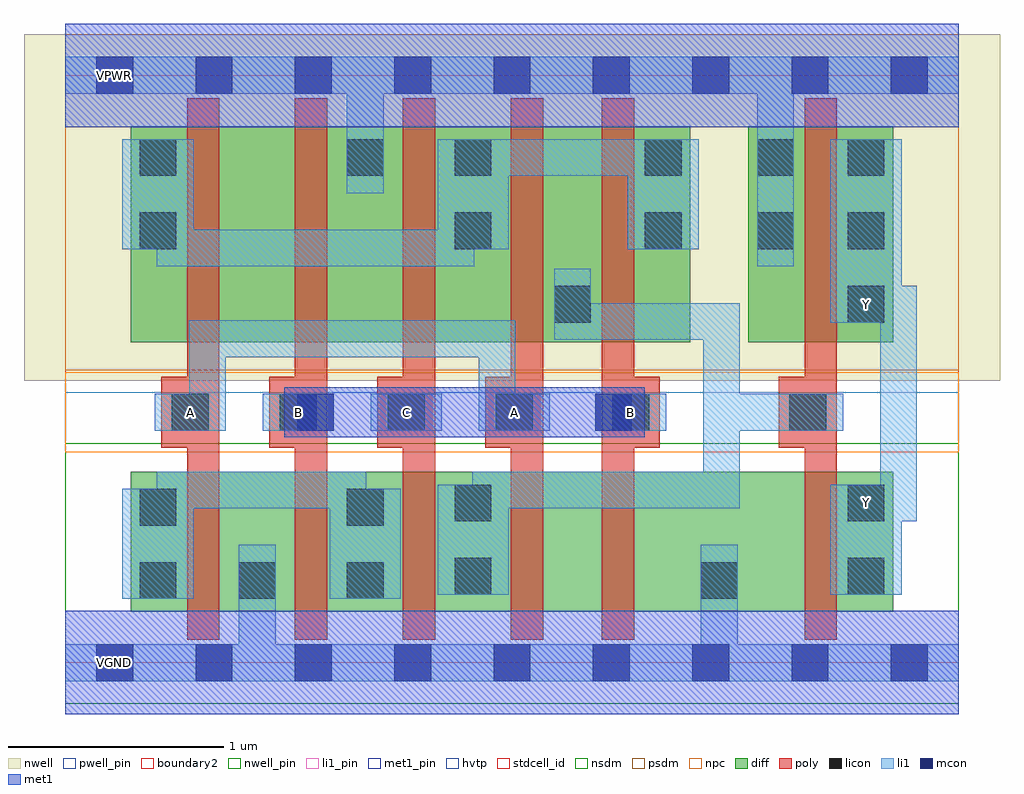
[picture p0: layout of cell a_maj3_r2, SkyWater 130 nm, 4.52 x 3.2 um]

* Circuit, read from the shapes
.subckt a_maj3_r2 A B C VGND VNB VPB VPWR Y
XM1 VGND A n1 VNB sky130_fd_pr__nfet_01v8 w=0.65 l=0.15
XM2 n1 B VGND VNB sky130_fd_pr__nfet_01v8 w=0.65 l=0.15
XM3 n2 C n1 VNB sky130_fd_pr__nfet_01v8 w=0.65 l=0.15
XM4 n3 A n2 VNB sky130_fd_pr__nfet_01v8 w=0.65 l=0.15
XM5 VGND B n3 VNB sky130_fd_pr__nfet_01v8 w=0.65 l=0.15
XM6 Y n2 VGND VNB sky130_fd_pr__nfet_01v8 w=0.65 l=0.15
XM7 n4 A n5 VPB sky130_fd_pr__pfet_01v8_hvt w=1 l=0.15
XM8 VPWR B n4 VPB sky130_fd_pr__pfet_01v8_hvt w=1 l=0.15
XM9 n5 C VPWR VPB sky130_fd_pr__pfet_01v8_hvt w=1 l=0.15
XM10 n2 A n5 VPB sky130_fd_pr__pfet_01v8_hvt w=1 l=0.15
XM11 n5 B n2 VPB sky130_fd_pr__pfet_01v8_hvt w=1 l=0.15
XM12 Y n2 VPWR VPB sky130_fd_pr__pfet_01v8_hvt w=1 l=0.15
.ends

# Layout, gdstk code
import gdstk
lib = gdstk.Library(unit=1e-6, precision=1e-09)
def R(c, l, rs):  # rectangles x0, y0, x1, y1
    for r in rs: c.add(gdstk.rectangle(r[:2], r[2:], *l))
def A(c, l, x, y, w, h, nx, ny, dx, dy):  # array of equal rectangles
    R(c, l, [(x+i*dx, y+j*dy, x+i*dx+w, y+j*dy+h) for i in range(nx) for j in range(ny)])
nwell_pin = (64, 16)
nwell = (64, 20)
diff = (65, 20)
poly = (66, 20)
licon = (66, 44)
li1_pin = (67, 16)
li1 = (67, 20)
mcon = (67, 44)
met1_pin = (68, 16)
met1 = (68, 20)
hvtp = (78, 44)
stdcell_id = (81, 4)
nsdm = (93, 44)
psdm = (94, 20)
npc = (95, 20)
pwell_pin = (122, 16)
boundary2 = (236, 0)

a_maj3_r2 = lib.new_cell('a_maj3_r2')
R(a_maj3_r2, nwell_pin, [(0.145,2.635,0.315,2.805)])
R(a_maj3_r2, nwell, [(-0.19,1.305,4.33,2.91)])
R(a_maj3_r2, diff, [(0.305,0.235,0.89,0.885), (0.89,0.235,1.39,0.885), (1.39,0.235,1.89,0.885), (1.89,0.235,2.35,0.885), (2.35,0.235,3.03,0.885), (3.03,0.235,3.835,0.885), (0.305,1.485,0.89,2.485), (0.89,1.485,1.39,2.485), (1.39,1.485,1.89,2.485), (1.89,1.485,2.35,2.485), (2.35,1.485,2.895,2.485), (3.165,1.485,3.835,2.485)])
A(a_maj3_r2, poly, 0.565, 0.105, 0.15, 2.51, 4, 1, 0.5, 0)
A(a_maj3_r2, poly, 0.445, 0.995, 0.27, 0.33, 4, 1, 0.5, 0)
R(a_maj3_r2, poly, [(2.485,0.105,2.635,2.615), (3.425,0.105,3.575,2.615), (2.485,0.995,2.755,1.325), (3.305,0.995,3.575,1.325)])
A(a_maj3_r2, licon, 0.495, 1.075, 0.17, 0.17, 4, 1, 0.5, 0)
A(a_maj3_r2, licon, 3.625, 1.575, 0.17, 0.17, 1, 3, 0, 0.34)
R(a_maj3_r2, licon, [(0.345,0.295,0.515,0.465), (0.805,0.295,0.975,0.465), (1.305,0.295,1.475,0.465), (2.945,0.295,3.115,0.465), (1.805,0.315,1.975,0.485), (3.625,0.315,3.795,0.485), (0.345,0.635,0.515,0.805), (1.305,0.635,1.475,0.805), (1.805,0.655,1.975,0.825), (3.625,0.655,3.795,0.825), (2.535,1.075,2.705,1.245), (3.355,1.075,3.525,1.245), (2.265,1.575,2.435,1.745), (0.345,1.915,0.515,2.085), (1.805,1.915,1.975,2.085), (2.685,1.915,2.855,2.085), (3.205,1.915,3.375,2.085), (0.345,2.255,0.515,2.425), (1.305,2.255,1.475,2.425), (1.805,2.255,1.975,2.425), (2.685,2.255,2.855,2.425), (3.205,2.255,3.375,2.425)])
A(a_maj3_r2, li1_pin, 0.495, 1.075, 0.17, 0.17, 4, 1, 0.5, 0)
R(a_maj3_r2, li1_pin, [(3.625,0.655,3.795,0.825), (2.535,1.075,2.705,1.245), (3.625,1.575,3.795,1.745)])
A(a_maj3_r2, li1, 0.415, 1.075, 0.33, 0.17, 4, 1, 0.5, 0)
R(a_maj3_r2, li1, [(0,-0.085,4.14,0.085), (0.805,-0.085,0.975,0.545), (2.945,-0.085,3.115,0.545), (0.265,0.295,0.595,0.465), (0.265,0.295,0.595,0.805), (0.425,0.295,0.595,0.885), (1.225,0.295,1.555,0.465), (1.225,0.295,1.395,0.885), (1.225,0.295,1.555,0.805), (1.725,0.315,2.055,0.825), (3.545,0.315,3.875,0.825), (1.725,0.655,2.055,0.825), (1.885,0.655,2.055,0.885), (3.545,0.655,3.875,0.825), (3.705,0.655,3.945,0.825), (3.775,0.655,3.945,1.745), (0.425,0.715,1.395,0.885), (1.885,0.715,3.125,0.885), (2.955,0.715,3.125,1.245), (0.575,1.075,0.745,1.585), (1.915,1.075,2.085,1.585), (2.455,1.075,2.785,1.245), (2.955,1.075,3.445,1.245), (2.955,1.075,3.125,1.665), (3.125,1.075,3.275,1.245), (3.125,1.075,3.275,1.245), (3.125,1.075,3.275,1.245), (3.125,1.075,3.275,1.245), (3.125,1.075,3.275,1.245), (3.125,1.075,3.275,1.245), (3.125,1.075,3.275,1.245), (3.125,1.075,3.275,1.245), (3.275,1.075,3.605,1.245), (0.575,1.415,2.085,1.585), (2.265,1.495,2.435,1.825), (2.265,1.495,3.125,1.665), (3.545,1.575,3.875,1.745), (3.545,1.575,3.875,2.085), (3.705,1.575,3.945,1.745), (0.425,1.835,0.595,2.425), (0.425,1.835,1.895,2.005), (1.725,1.835,1.895,2.425), (3.205,1.835,3.375,2.425), (0.265,1.915,0.595,2.425), (1.725,1.915,2.055,2.425), (2.605,1.915,2.935,2.425), (3.545,1.915,3.875,2.425), (1.305,2.175,1.475,2.805), (3.205,2.175,3.375,2.805), (0.265,2.255,0.595,2.425), (1.725,2.255,2.055,2.425), (1.885,2.255,2.775,2.425), (2.605,2.255,2.935,2.425), (0,2.635,4.14,2.805)])
A(a_maj3_r2, mcon, 0.145, -0.085, 0.17, 0.17, 9, 2, 0.46, 2.72)
R(a_maj3_r2, mcon, [(1.075,1.075,1.245,1.245), (2.455,1.075,2.625,1.245)])
R(a_maj3_r2, met1_pin, [(0.145,-0.085,0.315,0.085), (0.145,2.635,0.315,2.805)])
R(a_maj3_r2, met1, [(0,-0.24,4.14,0.24), (1.015,1.045,1.305,1.275), (1.045,1.045,2.655,1.275), (2.395,1.045,2.685,1.275), (0,2.48,4.14,2.96)])
R(a_maj3_r2, hvtp, [(0,1.25,4.14,2.72)])
R(a_maj3_r2, stdcell_id, [(0,0,4.14,2.72)])
R(a_maj3_r2, nsdm, [(0,-0.19,4.14,1.015)])
R(a_maj3_r2, psdm, [(0,1.355,4.14,2.91)])
R(a_maj3_r2, npc, [(0,0.975,4.14,1.345)])
R(a_maj3_r2, pwell_pin, [(0.145,-0.085,0.315,0.085)])
R(a_maj3_r2, boundary2, [(0,0,4.14,2.72)])
a_maj3_r2.add(gdstk.Label('A', (0.58,1.16), layer=67, texttype=5))
a_maj3_r2.add(gdstk.Label('A', (2.08,1.16), layer=67, texttype=5))
a_maj3_r2.add(gdstk.Label('B', (1.08,1.16), layer=67, texttype=5))
a_maj3_r2.add(gdstk.Label('B', (2.62,1.16), layer=67, texttype=5))
a_maj3_r2.add(gdstk.Label('C', (1.58,1.16), layer=67, texttype=5))
a_maj3_r2.add(gdstk.Label('Y', (3.71,0.74), layer=67, texttype=5))
a_maj3_r2.add(gdstk.Label('Y', (3.71,1.66), layer=67, texttype=5))
a_maj3_r2.add(gdstk.Label('VGND', (0.23,0), layer=68, texttype=5))
a_maj3_r2.add(gdstk.Label('VPWR', (0.23,2.72), layer=68, texttype=5))
a_maj3_r2.add(gdstk.Label('VPB', (0.23,2.72), layer=64, texttype=5))
a_maj3_r2.add(gdstk.Label('VNB', (0.23,0), layer=64, texttype=59))

lib.write_gds('a_maj3_r2.gds')
